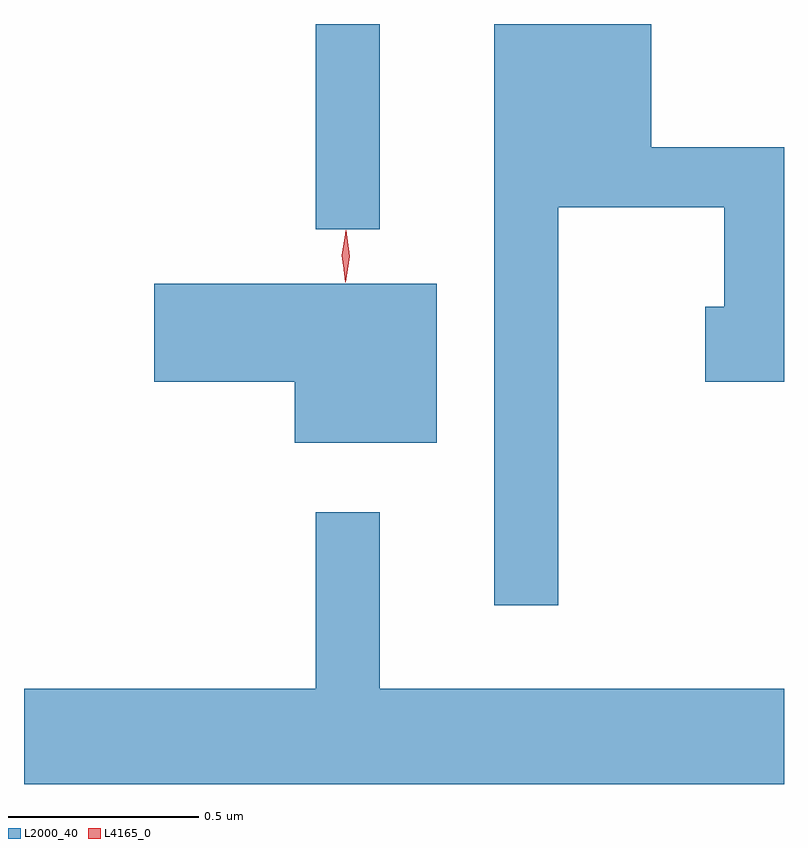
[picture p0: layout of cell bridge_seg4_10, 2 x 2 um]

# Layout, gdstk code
import gdstk
lib = gdstk.Library(unit=1e-6, precision=1e-09)
def R(c, l, rs):  # rectangles x0, y0, x1, y1
    for r in rs: c.add(gdstk.rectangle(r[:2], r[2:], *l))
def P(c, l, *ps):  # polygons
    for p in ps: c.add(gdstk.Polygon(p, *l))
L2000_40 = (2000, 40)
L4165_0 = (4165, 0)

bridge_seg4_10 = lib.new_cell('bridge_seg4_10')
R(bridge_seg4_10, L2000_40, [(1150.711,1389.453,1150.879,1389.993)])
P(bridge_seg4_10, L2000_40, [(1151.349,1389.511),(1151.786,1389.511),(1151.786,1389.249),(1151.736,1389.249),(1151.736,1389.051),(1151.943,1389.051),(1151.943,1389.669),(1151.594,1389.669),(1151.594,1389.993),(1151.181,1389.993),(1151.181,1388.463),(1151.349,1388.463)],
  [(1151.029,1389.309),(1150.286,1389.309),(1150.286,1389.051),(1150.656,1389.051),(1150.656,1388.891),(1151.029,1388.891)],
  [(1151.943,1388.244),(1150.879,1388.244),(1150.879,1388.708),(1150.711,1388.708),(1150.711,1388.244),(1149.943,1388.244),(1149.943,1387.993),(1151.943,1387.993)])
P(bridge_seg4_10, L4165_0, [(1150.788,1389.314),(1150.78,1389.382),(1150.79,1389.45),(1150.79,1389.45),(1150.791,1389.45),(1150.8,1389.382),(1150.79,1389.314),(1150.789,1389.314)],
  [(1150.788,1389.32),(1150.788,1389.321),(1150.779,1389.384),(1150.79,1389.446),(1150.79,1389.447),(1150.791,1389.446),(1150.799,1389.384),(1150.788,1389.321)])

lib.write_gds('bridge_seg4_10.gds')
